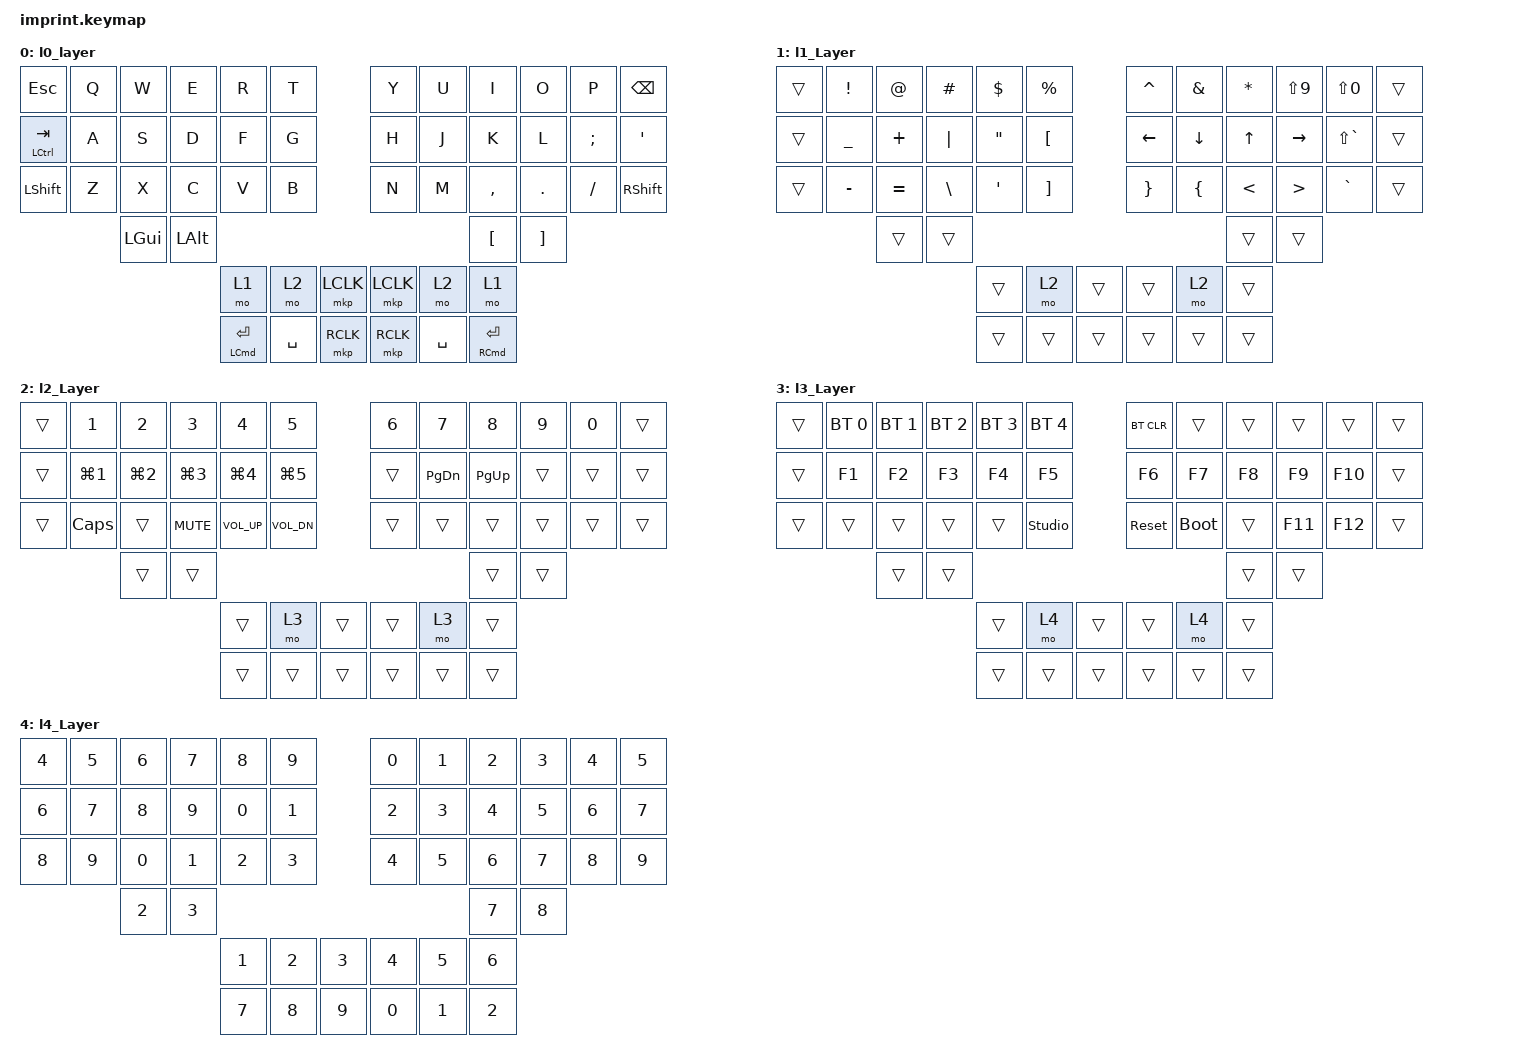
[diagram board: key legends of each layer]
#include <input/processors.dtsi>
#include <dt-bindings/zmk/input_transform.h>
#include <dt-bindings/zmk/matrix_transform.h>
#include <behaviors.dtsi>
#include <dt-bindings/zmk/bt.h>
#include <dt-bindings/zmk/keys.h>
#include <dt-bindings/zmk/pointing.h>

/ {
     chosen { zmk,matrix-transform = &imprint_three_row; };

    // Custom transform that maps only the three main rows plus thumb keys used by the
    // current layout, skipping the unused function and number rows from the stock Imprint.
    imprint_three_row: keymap_transform_3row {
        compatible = "zmk,matrix-transform";
        columns = <8>;
        rows = <14>;
        map = <
RC(4,5) RC(4,4) RC(4,3) RC(4,2) RC(4,1) RC(4,0)                           RC(11,0) RC(11,1) RC(11,2) RC(11,3) RC(11,4) RC(11,5)
RC(3,5) RC(3,4) RC(3,3) RC(3,2) RC(3,1) RC(3,0)                           RC(10,0) RC(10,1) RC(10,2) RC(10,3) RC(10,4) RC(10,5)
RC(2,5) RC(2,4) RC(2,3) RC(2,2) RC(2,1) RC(2,0)                           RC(9,0)  RC(9,1)  RC(9,2)  RC(9,3)  RC(9,4)  RC(9,5)
                RC(1,3) RC(1,2)                                                             RC(8,2)  RC(8,3)
                                    RC(0,3) RC(0,2) RC(0,1)   RC(7,1) RC(7,2) RC(7,3)
                                    RC(0,7) RC(0,6) RC(0,5)   RC(7,5) RC(7,6) RC(7,7)
        >;
    };

    keymap {
        compatible = "zmk,keymap";

        l0_layer {
            bindings = <
&kp ESC        &kp Q  &kp W     &kp E     &kp R         &kp T                   &kp Y      &kp U      &kp I         &kp O     &kp P     &kp BSPC
&mt LCTRL TAB  &kp A  &kp S     &kp D     &kp F         &kp G                   &kp H      &kp J      &kp K         &kp L     &kp SEMI  &kp SQT
&kp LSHFT      &kp Z  &kp X     &kp C     &kp V         &kp B                   &kp N      &kp M      &kp COMMA     &kp DOT   &kp FSLH  &kp RSHFT
                      &kp LGUI  &kp LALT                                                              &kp LBKT      &kp RBKT
                                          &mo 1         &mo 2      &mkp LCLK    &mkp LCLK  &mo 2      &mo 1
                                          &mt LCMD RET  &kp SPACE  &mkp RCLK    &mkp RCLK  &kp SPACE  &mt RCMD RET
            >;
        };

        l1_Layer {
            bindings = <
&trans  &kp EXCL   &kp AT     &kp HASH  &kp DLLR  &kp PRCNT            &kp CARET  &kp AMPS  &kp ASTRK  &kp LS(N9)  &kp LS(N0)     &trans
&trans  &kp UNDER  &kp PLUS   &kp PIPE  &kp DQT   &kp LBKT             &kp LEFT   &kp DOWN  &kp UP     &kp RIGHT   &kp LS(GRAVE)  &trans
&trans  &kp MINUS  &kp EQUAL  &kp BSLH  &kp SQT   &kp RBKT             &kp RBRC   &kp LBRC  &kp LT     &kp GT      &kp GRAVE      &trans
                   &trans     &trans                                                        &trans     &trans
                                        &trans    &mo 2      &trans    &trans     &mo 2     &trans
                                        &trans    &trans     &trans    &trans     &trans    &trans
            >;
        };

        l2_Layer {
            bindings = <
&trans  &kp N1      &kp N2      &kp N3      &kp N4        &kp N5                  &kp N6  &kp N7     &kp N8     &kp N9  &kp N0  &trans
&trans  &kp LG(N1)  &kp LG(N2)  &kp LG(N3)  &kp LG(N4)    &kp LG(N5)              &trans  &kp PG_DN  &kp PG_UP  &trans  &trans  &trans
&trans  &kp CAPS    &trans      &kp C_MUTE  &kp C_VOL_UP  &kp C_VOL_DN            &trans  &trans     &trans     &trans  &trans  &trans
                    &trans      &trans                                                               &trans     &trans
                                            &trans        &mo 3         &trans    &trans  &mo 3      &trans
                                            &trans        &trans        &trans    &trans  &trans     &trans
            >;
        };

        l3_Layer {
            bindings = <
&trans  &bt BT_SEL 0  &bt BT_SEL 1  &bt BT_SEL 2  &bt BT_SEL 3  &bt BT_SEL 4              &bt BT_CLR  &trans       &trans  &trans   &trans   &trans
&trans  &kp F1        &kp F2        &kp F3        &kp F4        &kp F5                    &kp F6      &kp F7       &kp F8  &kp F9   &kp F10  &trans
&trans  &trans        &trans        &trans        &trans        &studio_unlock            &sys_reset  &bootloader  &trans  &kp F11  &kp F12  &trans
                      &trans        &trans                                                                         &trans  &trans
                                                  &trans        &mo 4           &trans    &trans      &mo 4        &trans
                                                  &trans        &trans          &trans    &trans      &trans       &trans
            >;
        };

        l4_Layer {
            bindings = <
&kp N4  &kp N5  &kp N6  &kp N7  &kp N8  &kp N9            &kp N0  &kp N1  &kp N2  &kp N3  &kp N4  &kp N5
&kp N6  &kp N7  &kp N8  &kp N9  &kp N0  &kp N1            &kp N2  &kp N3  &kp N4  &kp N5  &kp N6  &kp N7
&kp N8  &kp N9  &kp N0  &kp N1  &kp N2  &kp N3            &kp N4  &kp N5  &kp N6  &kp N7  &kp N8  &kp N9
                &kp N2  &kp N3                                            &kp N7  &kp N8
                                &kp N1  &kp N2  &kp N3    &kp N4  &kp N5  &kp N6
                                &kp N7  &kp N8  &kp N9    &kp N0  &kp N1  &kp N2
            >;
        };
    };
};

// right hand trackball configuration
// &trackball_peripheral_listener {
//    input-processors =
//     activate layer 3 within 500ms of the trackball moving
//     <&zip_temp_layer 3 500>;
// };
//left hand trackball configuration

&trackball_central_listener {
    input-processors =
        // multiply sensitivity by 1, divide by 3 (make it slower for scrolling),,
        <&zip_xy_scaler 1 3>,
        // make this trackball output scrolling events by default instead of cursor movement,,
        <&zip_xy_to_scroll_mapper>,
        // invert vertical scrolling so that the view moves in the same direction as the top of the trackball.,,
        <&zip_scroll_transform INPUT_TRANSFORM_Y_INVERT>;
};
